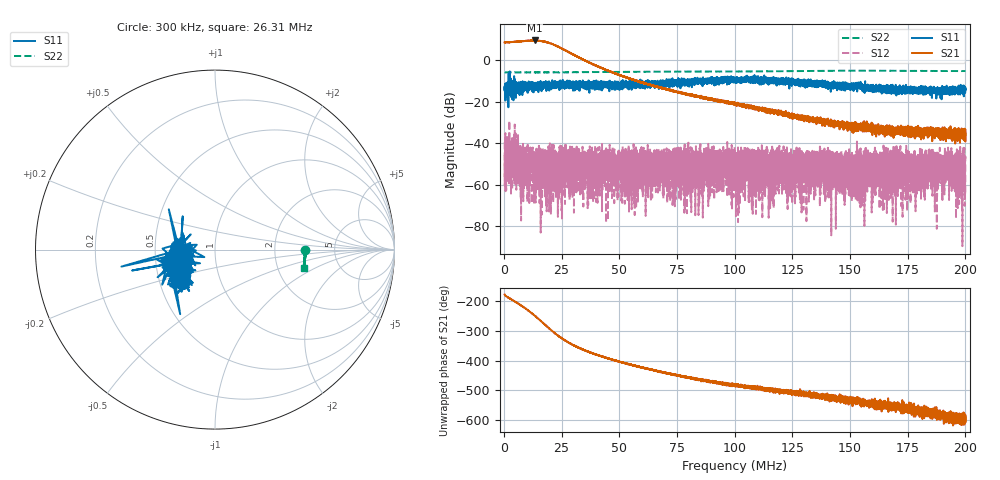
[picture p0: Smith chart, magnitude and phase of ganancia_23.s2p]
# Hz S DB R 50
! CMT, M5065, 19127446, 24.2.4/2
! Date: 11/8/2024 2:57:01 PM
! Data: Format (Calibration Info)
! Freq	S11:dB/Ang(F2)	S21:dB/Ang(F2)	S12:dB/Ang(F2)	S22:dB/Ang(F2)
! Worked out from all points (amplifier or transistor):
!   9000 points, 300 kHz to 200 MHz, reference 50 ohm
!   highest |S21| = 9.4 dB at 13.3 MHz (marker M1)
!   |S21| within 3 dB of that: start of sweep to 23.47 MHz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
!   unconditionally stable (mu >= 1): start of sweep to end of sweep
!   at 33.59 MHz: K = 55.28, MAG = 2.1 dB, |S12| = -44.6 dB
!   at 100.2 MHz: K = 3254.78, MAG = -19.1 dB, |S12| = -59.2 dB
!   at 200 MHz: K = 4116.59, MAG = -32.0 dB, |S12| = -48.0 dB
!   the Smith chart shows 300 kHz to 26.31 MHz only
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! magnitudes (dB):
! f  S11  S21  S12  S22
! 300 kHz  -14.2  8.5  -39.6  -6.0
! 1.321 MHz  -16.2  8.5  -42.9  -6.0
! 4.25 MHz  -12.3  8.7  -53.5  -6.0
! 8.134 MHz  -15.5  9.0  -44.8  -6.0
! 13.3 MHz  -12.3  9.4  -44.3  -6.0
! 33.59 MHz  -12.3  0.6  -44.6  -5.9
! 66.87 MHz  -11.0  -13.1  -48.6  -5.7
! 86.4 MHz  -11.3  -17.8  -45.3  -5.6
! 95.92 MHz  -10.0  -20.7  -45.8  -5.6
! 100.2 MHz  -8.7  -21.1  -59.2  -5.6
! 105 MHz  -9.6  -22.1  -45.3  -5.5
! 133.4 MHz  -11.6  -28.4  -50.6  -5.3
! 138 MHz  -12.6  -29.5  -47.5  -5.2
! 140.9 MHz  -11.6  -30.0  -44.8  -5.2
! 144.3 MHz  -12.0  -30.8  -51.0  -5.2
! 151.7 MHz  -12.8  -32.1  -52.9  -5.2
! 153.7 MHz  -12.1  -31.2  -53.2  -5.2
! 166.7 MHz  -13.3  -33.2  -47.5  -5.2
! 170.1 MHz  -13.0  -33.8  -47.3  -5.2
! 176.7 MHz  -14.5  -34.6  -61.3  -5.3
! 198.9 MHz  -14.5  -36.3  -47.8  -5.3
! 200 MHz  -14.0  -33.6  -48.0  -5.3
